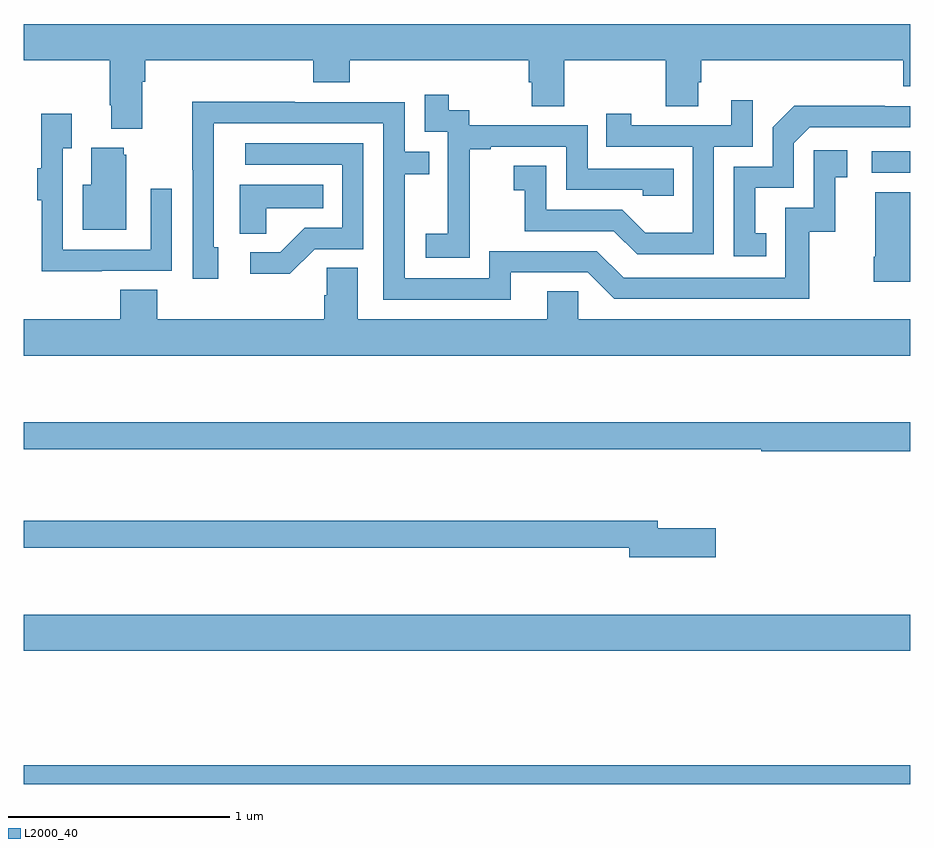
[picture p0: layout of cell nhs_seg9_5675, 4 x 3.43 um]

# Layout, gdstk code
import gdstk
lib = gdstk.Library(unit=1e-6, precision=1e-09)
def R(c, l, rs):  # rectangles x0, y0, x1, y1
    for r in rs: c.add(gdstk.rectangle(r[:2], r[2:], *l))
def P(c, l, *ps):  # polygons
    for p in ps: c.add(gdstk.Polygon(p, *l))
L2000_40 = (2000, 40)

nhs_seg9_5675 = lib.new_cell('nhs_seg9_5675')
R(nhs_seg9_5675, L2000_40, [(441,1182.5,445,1182.584), (441,1183.1,445,1183.264), (444.825,1185.258,445,1185.354)])
P(nhs_seg9_5675, L2000_40, [(441.535,1185.668),(441.548,1185.668),(441.548,1185.764),(442.307,1185.764),(442.307,1185.665),(442.472,1185.665),(442.472,1185.764),(443.279,1185.764),(443.279,1185.666),(443.291,1185.666),(443.291,1185.556),(443.439,1185.556),(443.439,1185.764),(443.896,1185.764),(443.896,1185.556),(444.043,1185.556),(444.043,1185.666),(444.056,1185.666),(444.056,1185.764),(444.968,1185.764),(444.968,1185.647),(445,1185.647),(445,1185.928),(441,1185.928),(441,1185.764),(441.388,1185.764),(441.388,1185.562),(441.395,1185.562),(441.395,1185.455),(441.535,1185.455)],
  [(443.013,1185.079),(443.012,1185.079),(443.012,1185.363),(443.107,1185.363),(443.107,1185.375),(443.448,1185.375),(443.448,1185.18),(443.793,1185.18),(443.793,1185.153),(443.933,1185.153),(443.933,1185.276),(443.544,1185.276),(443.544,1185.471),(443.01,1185.471),(443.01,1185.54),(442.918,1185.54),(442.918,1185.61),(442.809,1185.61),(442.809,1185.441),(442.914,1185.441),(442.914,1185.212),(442.913,1185.212),(442.913,1184.983),(442.815,1184.983),(442.815,1184.873),(443.013,1184.873)],
  [(444.114,1185.375),(444.288,1185.375),(444.288,1185.583),(444.191,1185.583),(444.191,1185.471),(443.74,1185.471),(443.74,1185.523),(443.629,1185.523),(443.629,1185.375),(444.018,1185.375),(444.018,1184.986),(443.804,1184.986),(443.7,1185.09),(443.358,1185.09),(443.358,1185.289),(443.211,1185.289),(443.211,1185.179),(443.26,1185.179),(443.26,1184.994),(443.663,1184.994),(443.768,1184.889),(444.114,1184.889)],
  [(443.197,1184.808),(443.544,1184.808),(443.664,1184.688),(444.544,1184.688),(444.544,1184.991),(444.662,1184.991),(444.662,1185.237),(444.715,1185.237),(444.715,1185.358),(444.564,1185.358),(444.564,1185.099),(444.435,1185.099),(444.435,1184.784),(443.706,1184.784),(443.586,1184.904),(443.1,1184.904),(443.1,1184.781),(442.719,1184.781),(442.719,1185.25),(442.829,1185.25),(442.829,1185.351),(442.719,1185.351),(442.719,1185.576),(442.223,1185.576),(442.223,1185.578),(441.76,1185.578),(441.76,1185.271),(441.762,1185.271),(441.762,1184.778),(441.877,1184.778),(441.877,1184.922),(441.858,1184.922),(441.858,1185.48),(442.623,1185.48),(442.623,1184.685),(443.197,1184.685)],
  [(444.35,1184.985),(444.301,1184.985),(444.301,1185.189),(444.474,1185.189),(444.474,1185.39),(444.546,1185.462),(445,1185.462),(445,1185.558),(444.884,1185.558),(444.884,1185.56),(444.476,1185.56),(444.378,1185.462),(444.378,1185.285),(444.204,1185.285),(444.204,1184.88),(444.35,1184.88)],
  [(441.353,1184.814),(441.669,1184.814),(441.669,1185.184),(441.573,1185.184),(441.573,1184.91),(441.177,1184.91),(441.177,1185.367),(441.217,1185.367),(441.217,1185.523),(441.08,1185.523),(441.08,1185.278),(441.061,1185.278),(441.061,1185.133),(441.081,1185.133),(441.081,1184.813),(441.353,1184.813)],
  [(442.314,1184.913),(442.533,1184.913),(442.533,1185.39),(441.999,1185.39),(441.999,1185.294),(442.437,1185.294),(442.437,1185.009),(442.268,1185.009),(442.157,1184.898),(442.023,1184.898),(442.023,1184.801),(442.201,1184.801)],
  [(441.463,1185.339),(441.452,1185.339),(441.452,1185.37),(441.305,1185.37),(441.305,1185.202),(441.266,1185.202),(441.266,1184.999),(441.463,1184.999)],
  [(442.095,1185.098),(442.352,1185.098),(442.352,1185.202),(441.974,1185.202),(441.974,1184.983),(442.095,1184.983)],
  [(445,1185.169),(444.842,1185.169),(444.842,1184.878),(444.835,1184.878),(444.835,1184.766),(445,1184.766)],
  [(445,1184.596),(443.502,1184.596),(443.502,1184.723),(443.363,1184.723),(443.363,1184.596),(442.507,1184.596),(442.507,1184.828),(442.368,1184.828),(442.368,1184.705),(442.355,1184.705),(442.355,1184.596),(441.602,1184.596),(441.602,1184.729),(441.437,1184.729),(441.437,1184.596),(441,1184.596),(441,1184.432),(445,1184.432)],
  [(445,1184.131),(441,1184.131),(441,1184.01),(444.328,1184.01),(444.328,1184.002),(445,1184.002)],
  [(444.121,1183.653),(443.86,1183.653),(443.86,1183.687),(441,1183.687),(441,1183.566),(443.732,1183.566),(443.732,1183.523),(444.121,1183.523)])

lib.write_gds('nhs_seg9_5675.gds')
